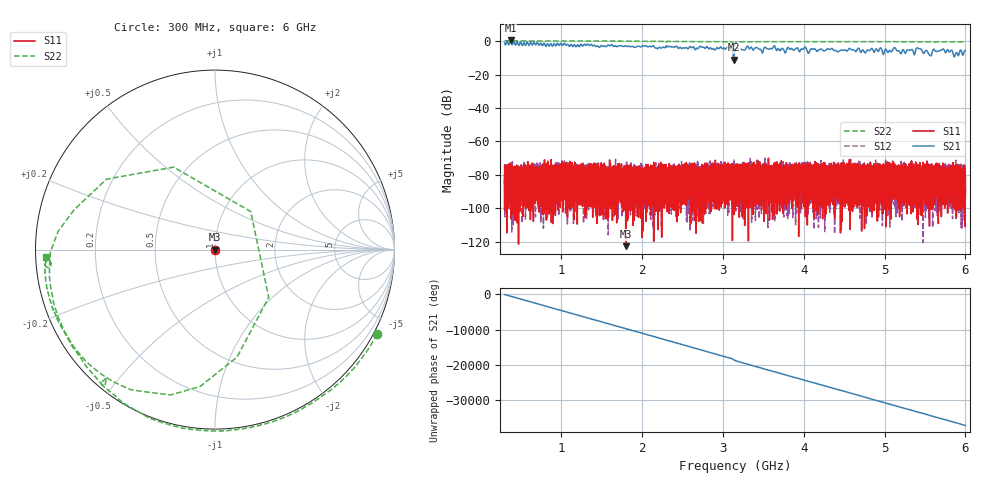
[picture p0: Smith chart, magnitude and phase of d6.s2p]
!Agilent Technologies,N5230C,SG49000117,A.08.50.07
!Agilent N5230C: A.08.50.07
!Date: Sunday, March 17, 2024 08:46:17
!Correction: S11(Off)
!S21(Off)
!S12(Off)
!S22(Full 1 Port(2))
!S2P File: Measurements: S11, S21, S12, S22:
# Hz S  RI  R 50
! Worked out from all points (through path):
!   20001 points, 300 MHz to 6 GHz, reference 50 ohm
!   highest |S21| = 0.38 dB at 373 MHz (marker M1); lowest = -11.1 dB at 3.133 GHz (marker M2)
!   lowest |S11| = -122.7 dB at 1.798 GHz (marker M3), VSWR 1.00, Z = 50 - j3.45e-05 ohm
!   |S11| at or under -10 dB: start of sweep to end of sweep
!   |S22| runs from -11.0 to 0.2 dB; largest |S21 - S12| = 1
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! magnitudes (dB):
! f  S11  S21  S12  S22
! 300 MHz  -80.4  -1.2  -84.1  0.1
! 373 MHz  -84.3  0.4  -85.0  0.2
! 1.25 GHz  -77.5  -2.0  -81.4  0.1
! 1.798 GHz  -122.7  -2.8  -74.9  0.0
! 2.2 GHz  -79.3  -4.3  -88.6  -0.1
! 3.069 GHz  -80.4  -3.9  -78.2  -0.4
! 3.133 GHz  -82.4  -11.1  -77.4  -4.4
! 3.15 GHz  -83.6  -5.0  -79.3  -2.1
! 3.183 GHz  -83.9  -4.1  -77.8  -0.5
! 3.321 GHz  -73.1  -4.3  -95.1  -0.4
! 3.475 GHz  -77.0  -5.5  -80.6  -0.4
! 3.624 GHz  -82.9  -3.5  -85.6  -0.4
! 3.764 GHz  -83.4  -6.5  -82.2  -0.4
! 4.1 GHz  -89.0  -4.6  -96.6  -0.3
! 5.05 GHz  -79.8  -6.3  -75.1  -0.4
! 5.124 GHz  -80.4  -3.8  -83.7  -0.4
! 5.359 GHz  -78.6  -7.1  -84.6  -0.4
! 5.419 GHz  -79.3  -4.4  -86.7  -0.4
! 5.56 GHz  -87.2  -8.5  -81.3  -0.4
! 5.712 GHz  -87.7  -5.1  -80.9  -0.5
! 5.884 GHz  -88.7  -7.0  -83.2  -0.5
! 6 GHz  -81.0  -5.6  -87.1  -0.5
